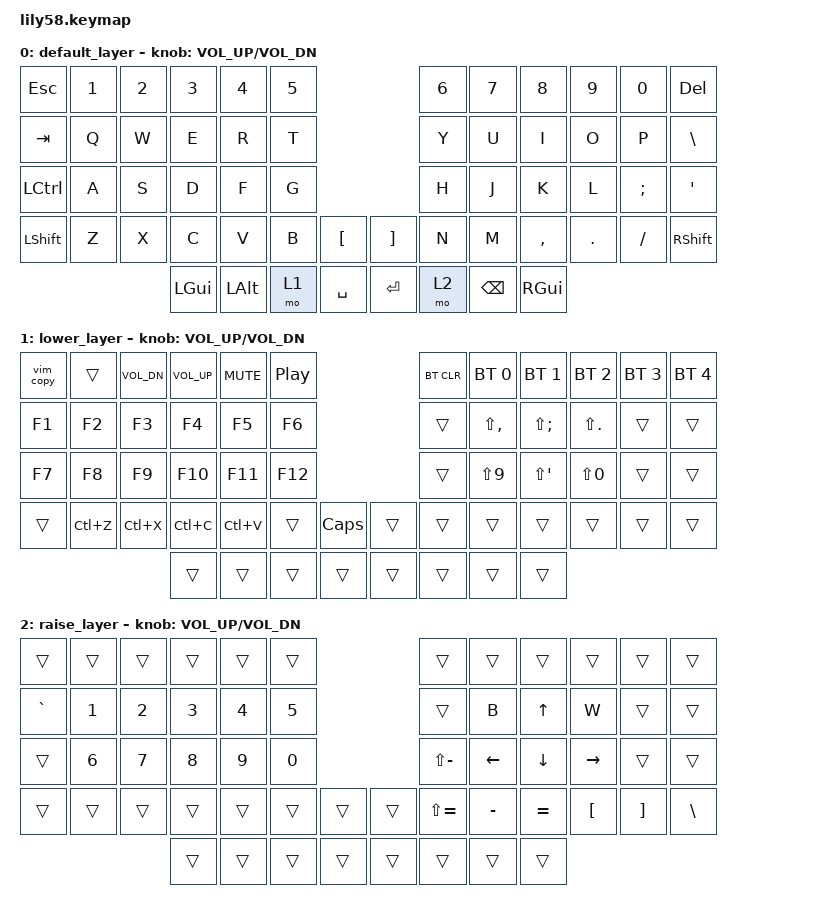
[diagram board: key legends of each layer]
/*
 * Copyright (c) 2020 The ZMK Contributors
 *
 * SPDX-License-Identifier: MIT
 */

#include <behaviors.dtsi>
#include <dt-bindings/zmk/keys.h>
#include <dt-bindings/zmk/bt.h>
#include <dt-bindings/zmk/ext_power.h>

/ {
    macros {
        vim_copy: vim_copy {
            compatible = "zmk,behavior-macro";
            #binding-cells = <0>;
            wait-ms = <40>;
            tap-ms = <40>;
            bindings 
                = <&macro_tap &kp G &kp G>
                , <&macro_press &kp LSHFT>
                , <&macro_tap &kp V &kp G>
                , <&macro_release &kp LSHFT>
                , <&macro_press &kp LCTRL>
                , <&macro_tap &kp C>
                , <&macro_release &kp LCTRL>
                ;
        };
    };

    keymap {
        compatible = "zmk,keymap";

        default_layer {
// ------------------------------------------------------------------------------------------------------------
// |  ESC  |  1  |  2  |  3   |  4   |  5   |                   |  6   |  7    |  8    |  9   |   0   |   DEL   |
// |  TAB  |  Q  |  W  |  E   |  R   |  T   |                   |  Y   |  U    |  I    |  O   |   P   |   \   |
// |  CTRL |  A  |  S  |  D   |  F   |  G   |                   |  H   |  J    |  K    |  L   |   ;   |   '   |
// | SHIFT |  Z  |  X  |  C   |  V   |  B   |   "["  |  |  "]"  |  N   |  M    |  ,    |  .   |   /   | SHIFT |
//                     | GUI  | ALT  | LOWER|  SPACE |  | ENTER | RAISE| BSPC  | GUI   |
            bindings = <
&kp ESC   &kp N1 &kp N2 &kp N3   &kp N4   &kp N5                     &kp N6 &kp N7   &kp N8    &kp N9  &kp N0   &kp DEL
&kp TAB   &kp Q  &kp W  &kp E    &kp R    &kp T                      &kp Y  &kp U    &kp I     &kp O   &kp P    &kp BSLH
&kp LCTRL &kp A  &kp S  &kp D    &kp F    &kp G                      &kp H  &kp J    &kp K     &kp L   &kp SEMI &kp SQT
&kp LSHFT &kp Z  &kp X  &kp C    &kp V    &kp B  &kp LBKT   &kp RBKT &kp N  &kp M    &kp COMMA &kp DOT &kp FSLH &kp RSHFT
                        &kp LGUI &kp LALT &mo 1  &kp SPACE  &kp RET  &mo 2  &kp BSPC &kp RGUI
            >;

            sensor-bindings = <&inc_dec_kp C_VOL_UP C_VOL_DN>;
        };

        lower_layer {
// ------------------------------------------------------------------------------------------------------------
// |  ggVG |     | DOWN|  UP |  MUTE|  PLAY |                   | BTCLR | BT1 | BT2 |  BT3 |  BT4 |  BT5 |
// |  F1   |  F2 |  F3 |  F4  |  F5  |  F6  |                   |      |   <   |   :   |   >  |       |       |
// |  F7   |  F8 |  F9 |  F10 |  F11 |  F12 |                   |      |   (   |   "   |  )   |       |       |
// |   |  UNDO |  CUT | COPY | PASTE |   |  CAPS  |  |       |      |       |       |      |       |       |
//                     |      |      |      |        |  |       |      |       |       |
            bindings = <
&vim_copy &trans &kp C_VOL_DN &kp C_VOL_UP &kp C_MUTE   &kp C_PP              &bt BT_CLR &bt BT_SEL 0 &bt BT_SEL 1 &bt BT_SEL 2 &bt BT_SEL 3 &bt BT_SEL 4
&kp F1     &kp F2           &kp F3            &kp F4            &kp F5       &kp F6                       &trans    &kp LS(COMMA)  &kp LS(SEMI) &kp LS(DOT)    &trans    &trans
&kp F7     &kp F8           &kp F9            &kp F10           &kp F11      &kp F12                      &trans    &kp LS(N9)  &kp LS(SQT) &kp LS(N0)  &trans    &trans
&trans     &kp LC(Z) &kp LC(X) &kp LC(C) &kp LC(V) &trans       &kp CAPS &trans    &trans    &trans &trans &trans &trans &trans
                                              &trans            &trans       &trans    &trans   &trans    &trans    &trans    &trans
            >;

            sensor-bindings = <&inc_dec_kp C_VOL_UP C_VOL_DN>;
        };

        raise_layer {
// ------------------------------------------------------------------------------------------------------------
// |       |     |     |      |      |      |                   |      |       |       |      |       |       |
// |   `   |  1  |  2  |  3   |  4   |  5   |                   |      |   b   |   ^   |   w   |       |       |
// |     |  6 |  7 |  8  |  9  |  0  |                   |  _   |   <-  |   v   |  ->  |       |       |
// |     |   |   |   |   |   |        |  |       |  +   |   -   |   =   |  [  |   ]   |   \   |
//                     |      |      |      |        |  |       |      |       |       |
            bindings = <
&trans    &trans &trans &trans  &trans  &trans                       &trans      &trans    &trans    &trans   &trans    &trans
&kp GRAVE &kp N1 &kp N2 &kp N3  &kp N4  &kp N5                       &trans      &kp B    &kp UP    &kp W   &trans    &trans
&trans    &kp N6 &kp N7 &kp N8  &kp N9  &kp N0                       &kp LS(MINUS)      &kp LEFT  &kp DOWN  &kp RIGHT   &trans &trans
&trans    &trans &trans &trans &trans &trans &trans   &trans    &kp LS(EQUAL) &kp MINUS &kp EQUAL &kp LBKT &kp RBKT  &kp BSLH
                        &trans  &trans  &trans    &trans   &trans    &trans      &trans    &trans
            >;

            sensor-bindings = <&inc_dec_kp C_VOL_UP C_VOL_DN>;
        };
    };
};
